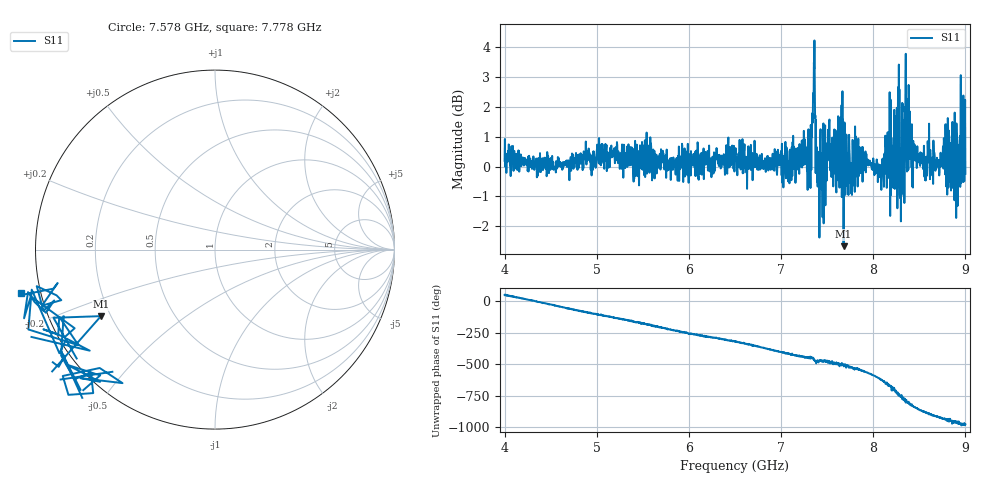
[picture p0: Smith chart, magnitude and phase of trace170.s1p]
! Created with skrf 1.8.0 (http://scikit-rf.org).
# Hz S RI R 50.0
!freq ReS11 ImS11
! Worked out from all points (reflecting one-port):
!   1601 points, 4 GHz to 9 GHz, reference 50 ohm
!   lowest |S11| = -2.7 dB at 7.678 GHz (marker M1), VSWR 6.56, Z = 8.16 - j13.2 ohm
!   phase of S11 starts at 51 deg and turns -1030 deg over the sweep
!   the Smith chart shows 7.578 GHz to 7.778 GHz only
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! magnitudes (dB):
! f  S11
! 4 GHz  0.2
! 4.625 GHz  -0.1
! 5.25 GHz  -0.1
! 5.875 GHz  -0.1
! 6.5 GHz  0.3
! 7.125 GHz  0.8
! 7.294 GHz  0.2
! 7.347 GHz  2.5
! 7.375 GHz  -0.2
! 7.397 GHz  -0.7
! 7.428 GHz  1.3
! 7.525 GHz  1.6
! 7.588 GHz  0.4
! 7.641 GHz  0.2
! 7.678 GHz  -2.7
! 7.75 GHz  -0.5
! 8.094 GHz  0.0
! 8.156 GHz  1.1
! 8.228 GHz  1.9
! 8.253 GHz  -0.1
! 8.312 GHz  2.1
! 8.334 GHz  1.6
! 8.375 GHz  2.3
! 8.425 GHz  0.1
! 8.556 GHz  -0.3
! 8.856 GHz  -0.7
! 8.972 GHz  0.2
! 9 GHz  -0.2
